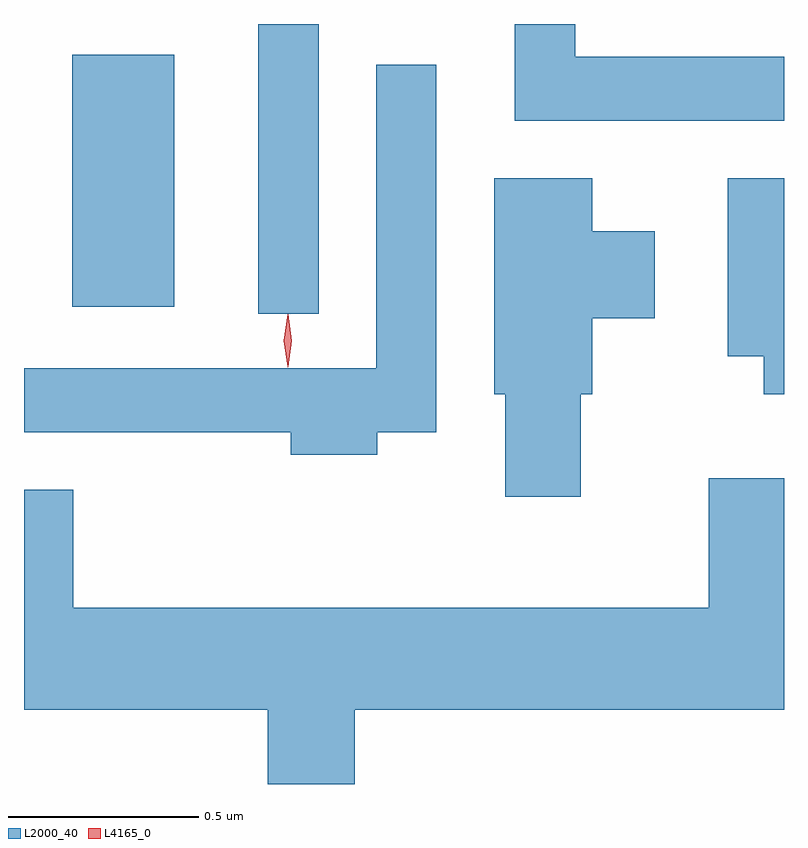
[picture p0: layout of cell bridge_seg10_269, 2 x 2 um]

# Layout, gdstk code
import gdstk
lib = gdstk.Library(unit=1e-6, precision=1e-09)
def R(c, l, rs):  # rectangles x0, y0, x1, y1
    for r in rs: c.add(gdstk.rectangle(r[:2], r[2:], *l))
def P(c, l, *ps):  # polygons
    for p in ps: c.add(gdstk.Polygon(p, *l))
L2000_40 = (2000, 40)
L4165_0 = (4165, 0)

bridge_seg10_269 = lib.new_cell('bridge_seg10_269')
R(bridge_seg10_269, L2000_40, [(1790.476,2099.418,1790.634,2100.18), (1789.986,2099.436,1790.254,2100.099)])
P(bridge_seg10_269, L2000_40, [(1791.859,2100.094),(1791.309,2100.094),(1791.309,2100.18),(1791.151,2100.18),(1791.151,2099.926),(1791.859,2099.926)],
  [(1790.789,2099.106),(1790.944,2099.106),(1790.944,2100.073),(1790.786,2100.073),(1790.786,2099.274),(1789.859,2099.274),(1789.859,2099.106),(1790.561,2099.106),(1790.561,2099.046),(1790.789,2099.046)],
  [(1791.859,2099.774),(1791.711,2099.774),(1791.711,2099.306),(1791.806,2099.306),(1791.806,2099.206),(1791.859,2099.206)],
  [(1791.324,2099.206),(1791.354,2099.206),(1791.354,2099.406),(1791.519,2099.406),(1791.519,2099.634),(1791.354,2099.634),(1791.354,2099.774),(1791.096,2099.774),(1791.096,2099.206),(1791.126,2099.206),(1791.126,2098.936),(1791.324,2098.936)],
  [(1790.729,2098.376),(1791.859,2098.376),(1791.859,2098.984),(1791.661,2098.984),(1791.661,2098.644),(1789.989,2098.644),(1789.989,2098.954),(1789.859,2098.954),(1789.859,2098.376),(1790.501,2098.376),(1790.501,2098.18),(1790.729,2098.18)])
P(bridge_seg10_269, L4165_0, [(1790.553,2099.277),(1790.553,2099.278),(1790.543,2099.347),(1790.553,2099.416),(1790.553,2099.416),(1790.554,2099.416),(1790.563,2099.347),(1790.554,2099.278)])

lib.write_gds('bridge_seg10_269.gds')
